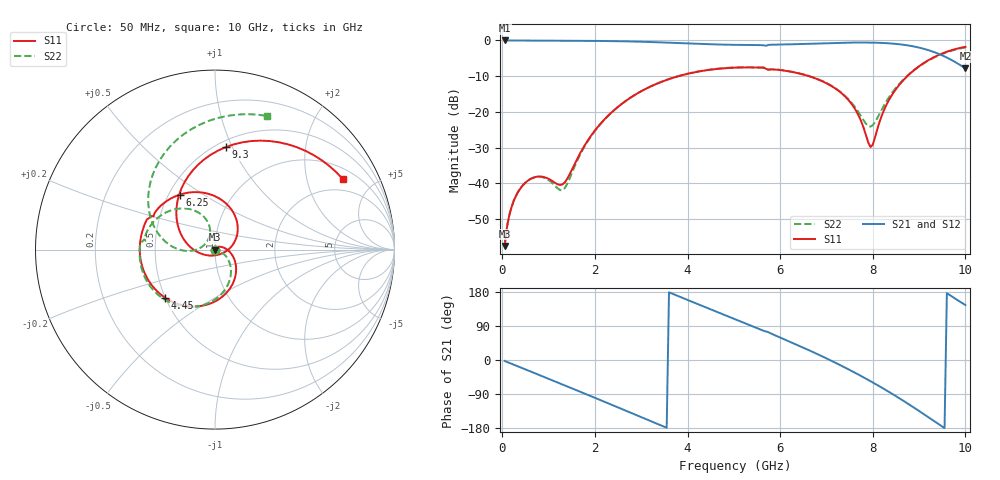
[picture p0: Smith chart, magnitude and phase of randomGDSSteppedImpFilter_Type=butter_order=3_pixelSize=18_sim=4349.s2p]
! freq	dB(S11)	phase(S11)	dB(S12)	phase(S12)
!  dB(S21)	phase(S21)	dB(S22)	phase(S22)
!S-par simulation data
#  GHz  S  DB  R 50
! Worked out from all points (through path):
!   200 points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, 50 MHz to 10 GHz, reference 50 ohm
!   highest |S21| = 0.00 dB at 50 MHz (marker M1); lowest = -7.8 dB at 10 GHz (marker M2)
!   group delay of S21, straight-line fit = 153 ps
!   lowest |S11| = -57.5 dB at 50 MHz (marker M3), VSWR 1.00, Z = 50 - j0.126 ohm
!   |S11| at or under -10 dB: start of sweep to 3.804 GHz; 6.621 GHz to 8.745 GHz (2.124 GHz wide, 27.6 % of centre)
!   |S22| runs from -57.6 to -1.9 dB; largest |S21 - S12| = 0
!   S11 on the Smith chart (normalised r, x): 50 MHz: 1.00, -0.00; 4.45 GHz: 0.50, -0.31; 6.25 GHz: 0.57, +0.40; 9.3 GHz: 0.55, +0.94; 10 GHz: 1.43, +3.32
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0.05  -57.55 -72.2  -0.00 -2.5  -0.00 -2.5  -57.57 -70.3
0.1  -52.30 -85.3  -0.01 -5.0  -0.01 -5.0  -52.22 -82.4
0.2  -46.63 -97.8  -0.02 -10.0  -0.02 -10.0  -46.52 -91.8
0.4  -41.26 -114.8  -0.03 -19.9  -0.03 -19.9  -41.18 -102.0
0.8  -38.08 -148.4  -0.05 -39.7  -0.05 -39.7  -38.15 -113.9
1.3  -40.28 120.5  -0.08 -64.6  -0.08 -64.6  -41.91 -72.1
1.75  -29.99 30.8  -0.10 -87.1  -0.10 -87.1  -30.29 -22.1
2.5  -18.57 -25.6  -0.21 -125.2  -0.21 -125.2  -18.58 -44.4
3.4  -11.77 -78.4  -0.53 -171.3  -0.53 -171.3  -11.75 -84.2
3.9  -9.66 -106.1  -0.78 163.5  -0.78 163.5  -9.62 -106.8
4.45  -8.27 -136.1  -1.05 136.2  -1.05 136.2  -8.22 -131.2
5.05  -7.60 -168.6  -1.24 106.7  -1.24 106.7  -7.54 -157.3
5.75  -8.20 151.8  -1.24 73.1  -1.24 73.1  -8.16 172.7
6.25  -8.80 122.3  -1.08 46.1  -1.08 46.1  -8.73 151.4
6.7  -10.34 93.0  -0.90 21.5  -0.90 21.5  -10.28 131.9
7.5  -17.07 30.7  -0.61 -26.2  -0.61 -26.2  -16.81 103.8
7.95  -29.82 -73.5  -0.60 -55.8  -0.60 -55.8  -24.12 144.5
8.35  -16.66 171.5  -0.81 -84.1  -0.81 -84.1  -15.90 -177.4
8.85  -8.76 123.2  -1.59 -122.5  -1.59 -122.5  -8.72 158.7
9.3  -4.83 84.1  -3.15 -159.2  -3.15 -159.2  -4.94 125.4
9.65  -2.93 55.3  -5.12 172.2  -5.12 172.2  -3.08 97.0
10  -1.79 28.8  -7.83 145.1  -7.83 145.1  -1.94 68.7
